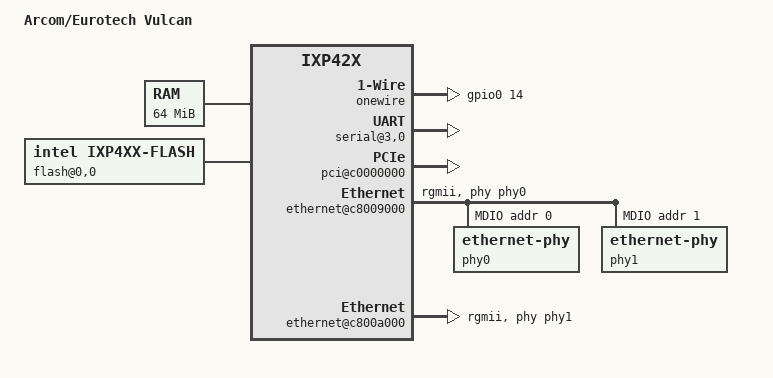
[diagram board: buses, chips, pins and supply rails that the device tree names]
// SPDX-License-Identifier: ISC
/*
 * Device Tree file for the Arcom/Eurotech Vulcan board.
 * This board is a single board computer in the PC/104 form factor based on
 * IXP425, and was released around 2005. It previously had the name "Mercury".
 */

/dts-v1/;

#include "intel-ixp42x.dtsi"
#include <dt-bindings/input/input.h>

/ {
	model = "Arcom/Eurotech Vulcan";
	compatible = "arcom,vulcan", "intel,ixp42x";
	#address-cells = <1>;
	#size-cells = <1>;

	memory@0 {
		device_type = "memory";
		reg = <0x00000000 0x4000000>;
	};

	chosen {
		/* CHECKME: using a harddrive at /dev/sda1 as rootfs by default */
		bootargs = "console=ttyS0,115200n8 root=/dev/sda1 rw rootfstype=ext4 rootwait";
		stdout-path = "uart0:115200n8";
	};

	aliases {
		serial0 = &uart0;
	};

	onewire {
		compatible = "w1-gpio";
		gpios = <&gpio0 14 (GPIO_ACTIVE_HIGH|GPIO_OPEN_DRAIN)>;
	};

	soc {
		bus@c4000000 {
			flash@0,0 {
				compatible = "intel,ixp4xx-flash", "cfi-flash";
				bank-width = <2>;
				/*
				 * 32 MB of Flash in 0x20000 byte blocks
				 * mapped in at CS0 and CS1.
				 *
				 * The documentation mentions the existence
				 * of a 16MB version, which we conveniently
				 * ignore. Shout if you own one!
				 */
				reg = <0 0x00000000 0x2000000>;

				/* Expansion bus settings */
				intel,ixp4xx-eb-t3 = <3>;
				intel,ixp4xx-eb-byte-access-on-halfword = <1>;
				intel,ixp4xx-eb-write-enable = <1>;

				partitions {
					compatible = "redboot-fis";
					fis-index-block = <0x1ff>;
				};
			};
			sram@2,0 {
				/* 256 KB SDRAM memory at CS2 */
				compatible = "shared-dma-pool";
				device_type = "memory";
				reg = <2 0x00000000 0x40000>;
				no-map;
				/* Expansion bus settings */
				intel,ixp4xx-eb-t3 = <1>;
				intel,ixp4xx-eb-t4 = <2>;
				intel,ixp4xx-eb-ahb-split-transfers = <1>;
				intel,ixp4xx-eb-write-enable = <1>;
				intel,ixp4xx-eb-byte-access = <1>;
			};
			serial@3,0 {
				/*
				 * 8250-compatible Exar XR16L2551 2 x UART
				 *
				 * CHECKME: if special tweaks are needed, then fix the
				 * operating system to handle it.
				 */
				compatible = "exar,xr16l2551", "ns8250";
				reg = <3 0x00000000 0x10>;
				interrupt-parent = <&gpio0>;
				interrupts = <4 IRQ_TYPE_LEVEL_LOW>;
				clock-frequency = <1843200>;
				/* Expansion bus settings */
				intel,ixp4xx-eb-t3 = <3>;
				intel,ixp4xx-eb-cycle-type = <1>; /* Motorola cycles */
				intel,ixp4xx-eb-write-enable = <1>;
				intel,ixp4xx-eb-byte-access = <1>;
			};
			gpio1: gpio@4,0 {
				/*
				 * MMIO GPIO in one byte
				 */
				compatible = "arcom,vulcan-gpio";
				reg = <4 0x00000000 0x1>;
				/* Expansion bus settings */
				intel,ixp4xx-eb-write-enable = <1>;
				intel,ixp4xx-eb-byte-access = <1>;
			};
			watchdog@5,0 {
				compatible = "maxim,max6369";
				reg = <5 0x00000000 0x1>;
				/* Expansion bus settings */
				intel,ixp4xx-eb-write-enable = <1>;
				intel,ixp4xx-eb-byte-access = <1>;
			};
		};

		pci@c0000000 {
			status = "ok";

			/*
			 * Taken from Vulcan PCI boardfile.
			 *
			 * We have 2 slots (IDSEL) 1 and 2 with one dedicated interrupt
			 * per slot. This interrupt is shared (OR:ed) by all four pins.
			 */
			interrupt-map =
			/* IDSEL 1 */
			<0x0800 0 0 1 &gpio0 2 IRQ_TYPE_LEVEL_LOW>, /* INT A on slot 1 is irq 2 */
			<0x0800 0 0 2 &gpio0 2 IRQ_TYPE_LEVEL_LOW>, /* INT B on slot 1 is irq 2 */
			<0x0800 0 0 3 &gpio0 2 IRQ_TYPE_LEVEL_LOW>, /* INT C on slot 1 is irq 2 */
			<0x0800 0 0 4 &gpio0 2 IRQ_TYPE_LEVEL_LOW>, /* INT D on slot 1 is irq 2 */
			/* IDSEL 2 */
			<0x1000 0 0 1 &gpio0 3 IRQ_TYPE_LEVEL_LOW>, /* INT A on slot 2 is irq 3 */
			<0x1000 0 0 2 &gpio0 3 IRQ_TYPE_LEVEL_LOW>, /* INT B on slot 2 is irq 3 */
			<0x1000 0 0 3 &gpio0 3 IRQ_TYPE_LEVEL_LOW>, /* INT C on slot 2 is irq 3 */
			<0x1000 0 0 4 &gpio0 3 IRQ_TYPE_LEVEL_LOW>; /* INT D on slot 2 is irq 3 */
		};

		/* EthB */
		ethernet@c8009000 {
			status = "ok";
			queue-rx = <&qmgr 3>;
			queue-txready = <&qmgr 20>;
			phy-mode = "rgmii";
			phy-handle = <&phy0>;

			mdio {
				#address-cells = <1>;
				#size-cells = <0>;

				phy0: ethernet-phy@0 {
					reg = <0>;
				};

				phy1: ethernet-phy@1 {
					reg = <1>;
				};
			};
		};

		/* EthC */
		ethernet@c800a000 {
			status = "ok";
			queue-rx = <&qmgr 4>;
			queue-txready = <&qmgr 21>;
			phy-mode = "rgmii";
			phy-handle = <&phy1>;
		};
	};
};
